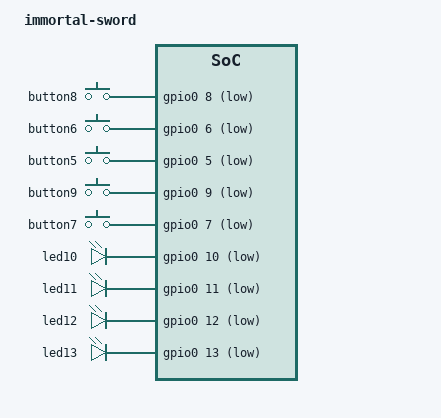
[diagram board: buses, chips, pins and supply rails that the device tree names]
/* SPDX-License-Identifier: GPL-2.0-or-later */
/*
 * Copyright(c) 2021 John Sanpe <sanpeqf@gmail.com>
 */

/dts-v1/;
#include "nationalchip/gx6605s.dtsi"
#include <dt-bindings/gpio.h>
#include <dt-bindings/input-event-codes.h>

/ {
    model = "immortal-sword";

    gpio_buttons {
        compatible = "gpio-keys-polled";
        poll-interval = <100>;
        autorepeat;
        button0 {
            label = "button8";
            linux,code = <KEY_LEFT>;
            gpios = <&gpio0 8 GPIO_ACTIVE_LOW>;
        };
        button1 {
            label = "button6";
            linux,code = <KEY_RIGHT>;
            gpios = <&gpio0 6 GPIO_ACTIVE_LOW>;
        };
        button2 {
            label = "button5";
            linux,code = <KEY_UP>;
            gpios = <&gpio0 5 GPIO_ACTIVE_LOW>;
        };
        button3 {
            label = "button9";
            linux,code = <KEY_DOWN>;
            gpios = <&gpio0 9 GPIO_ACTIVE_LOW>;
        };
        button4 {
            label = "button7";
            linux,code = <KEY_ENTER>;
            gpios = <&gpio0 7 GPIO_ACTIVE_LOW>;
        };
    };

    gpio_leds {
        compatible = "gpio-leds";
        led0 {
            label = "led10";
            gpios = <&gpio0 10 GPIO_ACTIVE_LOW>;
            default-trigger = "heartbeat";
        };
        led1 {
            label = "led11";
            gpios = <&gpio0 11 GPIO_ACTIVE_LOW>;
            default-trigger = "timer";
        };
        led2 {
            label = "led12";
            gpios = <&gpio0 12 GPIO_ACTIVE_LOW>;
            default-trigger = "default-on";
        };
        led3 {
            label = "led13";
            gpios = <&gpio0 13 GPIO_ACTIVE_LOW>;
            default-trigger = "default-on";
        };
    };
};

&spi {
    status = "disabled";

    flash@0 {
        #address-cells = <1>;
        #size-cells = <1>;
        compatible = "winband,mx25l1606e", "jedec,spi-nor";
        reg = <0>;
        spi-max-frequency = <40000000>;
    };
};
